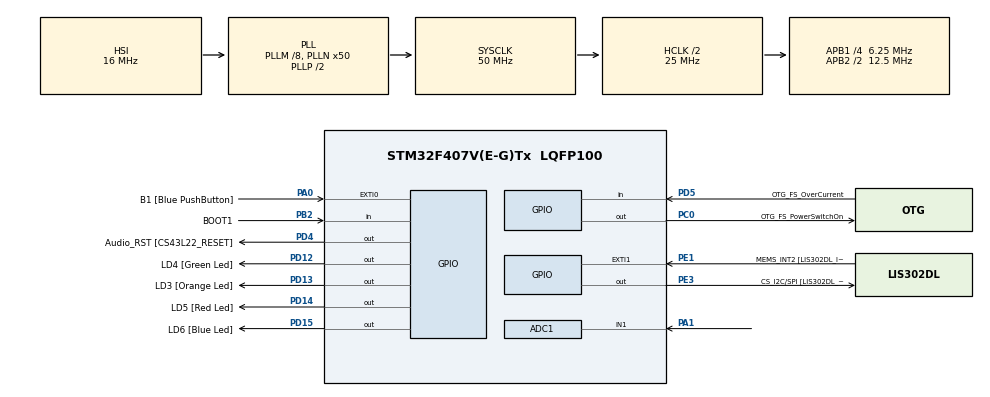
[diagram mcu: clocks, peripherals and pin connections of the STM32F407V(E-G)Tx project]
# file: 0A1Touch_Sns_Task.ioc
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ADC1.Channel-0\#ChannelRegularConversion=ADC_CHANNEL_1
ADC1.ContinuousConvMode=ENABLE
ADC1.InjNumberOfConversion=0
ADC1.NbrOfConversion=1
ADC1.NbrOfConversionFlag=1
ADC1.Rank-0\#ChannelRegularConversion=1
ADC1.Resolution=ADC_RESOLUTION_12B
ADC1.SamplingTime-0\#ChannelRegularConversion=ADC_SAMPLETIME_15CYCLES
ADC1.ScanConvMode=DISABLE
ADC1.master=1
Mcu.Family=STM32F4
Mcu.Name=STM32F407V(E-G)Tx
Mcu.Package=LQFP100
NVIC.EXTI0_IRQn=true\:6\:0\:true\:false\:true\:true\:true\:true
NVIC.PriorityGroup=NVIC_PRIORITYGROUP_4
NVIC.TIM6_DAC_IRQn=true\:15\:0\:false\:false\:true\:false\:true\:true
NVIC.TimeBase=TIM6_DAC_IRQn
NVIC.TimeBaseIP=TIM6
PA0-WKUP.GPIO_Label=B1 [Blue PushButton]
PA0-WKUP.GPIO_ModeDefaultEXTI=GPIO_MODE_IT_FALLING
PA0-WKUP.Signal=GPXTI0
PA1.Signal=ADCx_IN1
PA10.GPIO_Label=OTG_FS_ID
PA10.GPIO_Mode=GPIO_MODE_AF_PP
PA10.GPIO_PuPd=GPIO_NOPULL
PA10.GPIO_Speed=GPIO_SPEED_FREQ_LOW
PA10.Signal=USB_OTG_FS_ID
PA11.GPIO_Label=OTG_FS_DM
PA11.GPIO_Mode=GPIO_MODE_AF_PP
PA11.GPIO_PuPd=GPIO_NOPULL
PA11.GPIO_Speed=GPIO_SPEED_FREQ_LOW
PA11.Signal=USB_OTG_FS_DM
PA12.GPIO_Label=OTG_FS_DP
PA12.GPIO_Mode=GPIO_MODE_AF_PP
PA12.GPIO_PuPd=GPIO_NOPULL
PA12.GPIO_Speed=GPIO_SPEED_FREQ_LOW
PA12.Signal=USB_OTG_FS_DP
PA13.GPIO_Label=SWDIO
PA13.Signal=SYS_JTMS-SWDIO
PA14.GPIO_Label=SWCLK
PA14.Signal=SYS_JTCK-SWCLK
PA4.GPIO_Label=I2S3_WS [CS43L22_LRCK]
PA4.GPIO_Mode=GPIO_MODE_AF_PP
PA4.GPIO_PuPd=GPIO_NOPULL
PA4.GPIO_Speed=GPIO_SPEED_FREQ_LOW
PA4.Signal=I2S3_WS
PA5.GPIO_Label=SPI1_SCK [LIS302DL_SCL/SPC]
PA5.GPIO_Mode=GPIO_MODE_AF_PP
PA5.GPIO_PuPd=GPIO_NOPULL
PA5.GPIO_Speed=GPIO_SPEED_FREQ_LOW
PA5.Signal=SPI1_SCK
PA6.GPIO_Label=SPI1_MISO [LIS302DL_SDO]
PA6.GPIO_Mode=GPIO_MODE_AF_PP
PA6.GPIO_PuPd=GPIO_NOPULL
PA6.GPIO_Speed=GPIO_SPEED_FREQ_LOW
PA6.Signal=SPI1_MISO
PA7.GPIO_Label=SPI1_MOSI [LIS302DL_SDA/SDI/SDO]
PA7.GPIO_Mode=GPIO_MODE_AF_PP
PA7.GPIO_PuPd=GPIO_NOPULL
PA7.GPIO_Speed=GPIO_SPEED_FREQ_LOW
PA7.Signal=SPI1_MOSI
PA9.GPIO_Label=VBUS_FS
PA9.GPIO_Mode=GPIO_MODE_INPUT
PA9.GPIO_PuPd=GPIO_NOPULL
PA9.Signal=USB_OTG_FS_VBUS
PB10.GPIO_Label=CLK_IN [MP45DT02_CLK]
PB10.GPIO_Mode=GPIO_MODE_AF_PP
PB10.GPIO_PuPd=GPIO_NOPULL
PB10.GPIO_Speed=GPIO_SPEED_FREQ_LOW
PB10.Signal=I2S2_CK
PB2.GPIO_Label=BOOT1
PB2.GPIO_Mode=GPIO_MODE_INPUT
PB2.GPIO_PuPd=GPIO_NOPULL
PB2.Signal=GPIO_Input
PB3.GPIO_Label=SWO
PB3.Signal=SYS_JTDO-SWO
PB6.GPIO_Label=Audio_SCL [CS43L22_SCL]
PB6.GPIO_Mode=GPIO_MODE_AF_OD
PB6.GPIO_PuPd=GPIO_NOPULL
PB6.GPIO_Speed=GPIO_SPEED_FREQ_LOW
PB6.Signal=I2C1_SCL
PB9.GPIO_Label=Audio_SDA [CS43L22_SDA]
PB9.GPIO_Mode=GPIO_MODE_AF_OD
PB9.GPIO_PuPd=GPIO_NOPULL
PB9.GPIO_Speed=GPIO_SPEED_FREQ_LOW
PB9.Signal=I2C1_SDA
PC0.GPIO_Label=OTG_FS_PowerSwitchOn
PC0.GPIO_PuPd=GPIO_NOPULL
PC0.GPIO_Speed=GPIO_SPEED_FREQ_LOW
PC0.PinState=GPIO_PIN_SET
PC0.Signal=GPIO_Output
PC10.GPIO_Label=I2S3_SCK [CS43L22_SCLK]
PC10.GPIO_Mode=GPIO_MODE_AF_PP
PC10.GPIO_PuPd=GPIO_NOPULL
PC10.GPIO_Speed=GPIO_SPEED_FREQ_LOW
PC10.Signal=I2S3_CK
PC12.GPIO_Label=I2S3_SD [CS43L22_SDIN]
PC12.GPIO_Mode=GPIO_MODE_AF_PP
PC12.GPIO_PuPd=GPIO_NOPULL
PC12.GPIO_Speed=GPIO_SPEED_FREQ_LOW
PC12.Signal=I2S3_SD
PC14-OSC32_IN.GPIO_Label=PC14-OSC32_IN
PC14-OSC32_IN.Signal=RCC_OSC32_IN
PC15-OSC32_OUT.GPIO_Label=PC15-OSC32_OUT
PC15-OSC32_OUT.Signal=RCC_OSC32_OUT
PC3.GPIO_Label=PDM_OUT [MP45DT02_DOUT]
PC3.GPIO_Mode=GPIO_MODE_AF_PP
PC3.GPIO_PuPd=GPIO_NOPULL
PC3.GPIO_Speed=GPIO_SPEED_FREQ_LOW
PC3.Signal=I2S2_SD
PC7.GPIO_Label=I2S3_MCK [CS43L22_MCLK]
PC7.GPIO_Mode=GPIO_MODE_AF_PP
PC7.GPIO_PuPd=GPIO_NOPULL
PC7.GPIO_Speed=GPIO_SPEED_FREQ_LOW
PC7.Signal=I2S3_MCK
PD12.GPIO_Label=LD4 [Green Led]
PD12.GPIO_PuPd=GPIO_NOPULL
PD12.GPIO_Speed=GPIO_SPEED_FREQ_LOW
PD12.Signal=GPIO_Output
PD13.GPIO_Label=LD3 [Orange Led]
PD13.GPIO_PuPd=GPIO_NOPULL
PD13.GPIO_Speed=GPIO_SPEED_FREQ_LOW
PD13.Signal=GPIO_Output
PD14.GPIO_Label=LD5 [Red Led]
PD14.GPIO_PuPd=GPIO_NOPULL
PD14.GPIO_Speed=GPIO_SPEED_FREQ_LOW
PD14.Signal=GPIO_Output
PD15.GPIO_Label=LD6 [Blue Led]
PD15.GPIO_PuPd=GPIO_NOPULL
PD15.GPIO_Speed=GPIO_SPEED_FREQ_LOW
PD15.Signal=GPIO_Output
PD4.GPIO_Label=Audio_RST [CS43L22_RESET]
PD4.GPIO_PuPd=GPIO_NOPULL
PD4.GPIO_Speed=GPIO_SPEED_FREQ_LOW
PD4.Signal=GPIO_Output
PD5.GPIO_Label=OTG_FS_OverCurrent
PD5.GPIO_Mode=GPIO_MODE_INPUT
PD5.GPIO_PuPd=GPIO_NOPULL
PD5.Signal=GPIO_Input
PE1.GPIO_Label=MEMS_INT2 [LIS302DL_INT2]
PE1.GPIO_ModeDefaultEXTI=GPIO_MODE_EVT_RISING
PE1.GPIO_PuPd=GPIO_NOPULL
PE1.Signal=GPXTI1
PE3.GPIO_Label=CS_I2C/SPI [LIS302DL_CS_I2C/SPI]
PE3.GPIO_PuPd=GPIO_NOPULL
PE3.GPIO_Speed=GPIO_SPEED_FREQ_LOW
PE3.Signal=GPIO_Output
PH0-OSC_IN.GPIO_Label=PH0-OSC_IN
PH0-OSC_IN.Signal=RCC_OSC_IN
PH1-OSC_OUT.GPIO_Label=PH1-OSC_OUT
PH1-OSC_OUT.Signal=RCC_OSC_OUT
ProjectManager.HeapSize=0x200
ProjectManager.StackSize=0x400
ProjectManager.TargetToolchain=STM32CubeIDE
RCC.48MHZClocksFreq_Value=14285714.285714285
RCC.AHBCLKDivider=RCC_SYSCLK_DIV2
RCC.AHBFreq_Value=25000000
RCC.APB1CLKDivider=RCC_HCLK_DIV4
RCC.APB1Freq_Value=6250000
RCC.APB1TimFreq_Value=12500000
RCC.APB2CLKDivider=RCC_HCLK_DIV2
RCC.APB2Freq_Value=12500000
RCC.APB2TimFreq_Value=25000000
RCC.CortexFreq_Value=25000000
RCC.HCLKFreq_Value=25000000
RCC.HSE_VALUE=8000000
RCC.HSI_VALUE=16000000
RCC.LSE_VALUE=32768
RCC.PLLM=8
RCC.PLLN=50
RCC.PLLQ=7
RCC.SYSCLKFreq_VALUE=50000000
RCC.SYSCLKSource=RCC_SYSCLKSOURCE_PLLCLK
RCC.VCOOutputFreq_Value=100000000
SH.ADCx_IN1.0=ADC1_IN1,IN1
VP_SYS_VS_tim6.Mode=TIM6
board=STM32F407G-DISC1

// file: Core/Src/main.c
/* USER CODE BEGIN Header */
/**
  ******************************************************************************
  * @file           : main.c
  * @brief          : Main program body
  ******************************************************************************
  * @attention
  *
  * Copyright (c) 2025 STMicroelectronics.
  * All rights reserved.
  *
  * This software is licensed under terms that can be found in the LICENSE file
  * in the root directory of this software component.
  * If no LICENSE file comes with this software, it is provided AS-IS.
  *
  ******************************************************************************
  */
/* USER CODE END Header */
#include "main.h"

/* USER CODE BEGIN Includes */
#include "stdio.h"
#include "FreeRTOS.h"
#include "task.h"
/* USER CODE END Includes */

ADC_HandleTypeDef hadc1;

/* USER CODE BEGIN PV */
#define DWT_CTRL (*(volatile uint32_t*)0xE0001000)
/* USER CODE END PV */

void SystemClock_Config(void);
static void MX_GPIO_Init(void);
static void MX_ADC1_Init(void);
/* USER CODE BEGIN PFP */
static void task1_handler(void* parameters);
static void task2_handler(void* parameters);
static void taskLED_Green_handler(void* parameters);
static void taskLED_Blue_handler(void* parameters);
static void taskLED_Red_handler(void* parameters);
static void taskLED_Yellow_handler(void* parameters);
static void taskTouch_Sns_handler(void* parameters);
static void Priority_Swtich(void);

#if (SEGGER_UART_REC == 1)
extern viod SEGGER_UART_init(uint32_t);
#endif
/* USER CODE END PFP */

/* USER CODE BEGIN 0 */
//static uint32_t cnt1 = 0u;
//static uint32_t cnt2 = 0u;
//static uint32_t cnt3 = 0u;
//static uint32_t cnt4 = 0u;
//static uint32_t tot_cnt = 0u;
static uint32_t User_Btn_Cnt = 0u;
static uint8_t User_Btn_Sts = 0u;
static uint8_t User_Btn_Sts_Debounce = 0u;
static uint8_t User_Btn_Toggle = 0u;
static uint8_t User_Btn_Toggle_Last = 0u;
static uint8_t User_Btn_Clicked = 0u;
static uint8_t Task_Handle_Cnt = 0u;
static uint32_t ADC1_Value = 0u;
static uint8_t Touch_Sns_Sts = 0u;
static uint8_t Touch_Sns_Sts_cnt = 0u;
static uint8_t Touch_Sns_ON = 0u;
static uint8_t Touch_Sns_ON_Last = 0u;

TaskHandle_t task1_handle;
TaskHandle_t task2_handle;
TaskHandle_t taskLED_Green_handle;
TaskHandle_t taskLED_Blue_handle;
TaskHandle_t taskLED_Red_handle;
TaskHandle_t taskLED_Yellow_handle;
TaskHandle_t taskUser_Btn_handle;
TaskHandle_t next_handle;
TaskHandle_t taskTouch_Sns_handle;
/* USER CODE END 0 */

int main(void)
{

  /* USER CODE BEGIN 1 */
	BaseType_t status;
  /* USER CODE END 1 */

  /* MCU Configuration--------------------------------------------------------*/

  /* Reset of all peripherals, Initializes the Flash interface and the Systick. */
  HAL_Init();

  /* Configure the system clock */
  SystemClock_Config();

  /* Initialize all configured peripherals */
  MX_GPIO_Init();
  MX_ADC1_Init();
  /* USER CODE BEGIN 2 */
  HAL_ADC_Start_IT(&hadc1);
#if (SEGGER_UART_REC == 1)
  SEGGER_UART_init(500000);
#endif
  /*Enable the CYCCNT*/
  DWT_CTRL|= (1<< 0);
  SEGGER_SYSVIEW_Conf();

#if (SEGGER_UART_REC == 0)
  SEGGER_SYSVIEW_Start();
#endif

  status = xTaskCreate(taskLED_Green_handler, "Task-LED", 200, "Green_LED_Task Activation", 3, &taskLED_Green_handle);
  configASSERT(status == pdPASS);

  status = xTaskCreate(taskLED_Blue_handler, "Task-LED", 200, "Blue_LED_Task Activation", 3, &taskLED_Blue_handle);
  configASSERT(status == pdPASS);

  status = xTaskCreate(taskLED_Red_handler, "Task-LED", 200, "Red_LED_Task Activation", 3, &taskLED_Red_handle);
  configASSERT(status == pdPASS);

  status = xTaskCreate(taskLED_Yellow_handler, "Task-LED", 200, "Yellow_LED_Task Activation", 3, &taskLED_Yellow_handle);
  configASSERT(status == pdPASS);

/*
  status = xTaskCreate(taskUser_Btn_handler, "Task-Btn", 200, "User_Btn_Task Activation", 1, &taskUser_Btn_handle);
  configASSERT(status == pdPASS);
  */
  status = xTaskCreate(taskTouch_Sns_handler, "Task-Touch_Sns", 200, NULL, 3, &taskTouch_Sns_handle);
  configASSERT(status == pdPASS);

  /*Start the scheduler*/
  vTaskStartScheduler();
  /* USER CODE END 2 */

  /* Infinite loop */
  while (1)
  {

  }
}

void SystemClock_Config(void)
{
  RCC_OscInitTypeDef RCC_OscInitStruct = {0};
  RCC_ClkInitTypeDef RCC_ClkInitStruct = {0};

  /** Configure the main internal regulator output voltage
  */
  __HAL_RCC_PWR_CLK_ENABLE();
  __HAL_PWR_VOLTAGESCALING_CONFIG(PWR_REGULATOR_VOLTAGE_SCALE1);

  /** Initializes the RCC Oscillators according to the specified parameters
  * in the RCC_OscInitTypeDef structure.
  */
  RCC_OscInitStruct.OscillatorType = RCC_OSCILLATORTYPE_HSI;
  RCC_OscInitStruct.HSIState = RCC_HSI_ON;
  RCC_OscInitStruct.HSICalibrationValue = RCC_HSICALIBRATION_DEFAULT;
  RCC_OscInitStruct.PLL.PLLState = RCC_PLL_ON;
  RCC_OscInitStruct.PLL.PLLSource = RCC_PLLSOURCE_HSI;
  RCC_OscInitStruct.PLL.PLLM = 8;
  RCC_OscInitStruct.PLL.PLLN = 50;
  RCC_OscInitStruct.PLL.PLLP = RCC_PLLP_DIV2;
  RCC_OscInitStruct.PLL.PLLQ = 7;
  if (HAL_RCC_OscConfig(&RCC_OscInitStruct) != HAL_OK)
  {
    Error_Handler();
  }

  /** Initializes the CPU, AHB and APB buses clocks
  */
  RCC_ClkInitStruct.ClockType = RCC_CLOCKTYPE_HCLK|RCC_CLOCKTYPE_SYSCLK
                              |RCC_CLOCKTYPE_PCLK1|RCC_CLOCKTYPE_PCLK2;
  RCC_ClkInitStruct.SYSCLKSource = RCC_SYSCLKSOURCE_PLLCLK;
  RCC_ClkInitStruct.AHBCLKDivider = RCC_SYSCLK_DIV2;
  RCC_ClkInitStruct.APB1CLKDivider = RCC_HCLK_DIV4;
  RCC_ClkInitStruct.APB2CLKDivider = RCC_HCLK_DIV2;

  if (HAL_RCC_ClockConfig(&RCC_ClkInitStruct, FLASH_LATENCY_0) != HAL_OK)
  {
    Error_Handler();
  }
}

static void MX_ADC1_Init(void)
{

  ADC_ChannelConfTypeDef sConfig = {0};

  /** Configure the global features of the ADC (Clock, Resolution, Data Alignment and number of conversion)
  */
  hadc1.Instance = ADC1;
  hadc1.Init.ClockPrescaler = ADC_CLOCK_SYNC_PCLK_DIV2;
  hadc1.Init.Resolution = ADC_RESOLUTION_12B;
  hadc1.Init.ScanConvMode = DISABLE;
  hadc1.Init.ContinuousConvMode = ENABLE;
  hadc1.Init.DiscontinuousConvMode = DISABLE;
  hadc1.Init.ExternalTrigConvEdge = ADC_EXTERNALTRIGCONVEDGE_NONE;
  hadc1.Init.ExternalTrigConv = ADC_SOFTWARE_START;
  hadc1.Init.DataAlign = ADC_DATAALIGN_RIGHT;
  hadc1.Init.NbrOfConversion = 1;
  hadc1.Init.DMAContinuousRequests = DISABLE;
  hadc1.Init.EOCSelection = ADC_EOC_SINGLE_CONV;
  if (HAL_ADC_Init(&hadc1) != HAL_OK)
  {
    Error_Handler();
  }

  /** Configure for the selected ADC regular channel its corresponding rank in the sequencer and its sample time.
  */
  sConfig.Channel = ADC_CHANNEL_1;
  sConfig.Rank = 1;
  sConfig.SamplingTime = ADC_SAMPLETIME_15CYCLES;
  if (HAL_ADC_ConfigChannel(&hadc1, &sConfig) != HAL_OK)
  {
    Error_Handler();
  }

}

static void MX_GPIO_Init(void)
{
  GPIO_InitTypeDef GPIO_InitStruct = {0};

  /* GPIO Ports Clock Enable */
  __HAL_RCC_GPIOE_CLK_ENABLE();
  __HAL_RCC_GPIOC_CLK_ENABLE();
  __HAL_RCC_GPIOH_CLK_ENABLE();
  __HAL_RCC_GPIOA_CLK_ENABLE();
  __HAL_RCC_GPIOB_CLK_ENABLE();
  __HAL_RCC_GPIOD_CLK_ENABLE();

  /*Configure GPIO pin Output Level */
  HAL_GPIO_WritePin(CS_I2C_SPI_GPIO_Port, CS_I2C_SPI_Pin, GPIO_PIN_RESET);

  /*Configure GPIO pin Output Level */
  HAL_GPIO_WritePin(OTG_FS_PowerSwitchOn_GPIO_Port, OTG_FS_PowerSwitchOn_Pin, GPIO_PIN_SET);

  /*Configure GPIO pin Output Level */
  HAL_GPIO_WritePin(GPIOD, LD4_Pin|LD3_Pin|LD5_Pin|LD6_Pin
                          |Audio_RST_Pin, GPIO_PIN_RESET);

  /*Configure GPIO pin : CS_I2C_SPI_Pin */
  GPIO_InitStruct.Pin = CS_I2C_SPI_Pin;
  GPIO_InitStruct.Mode = GPIO_MODE_OUTPUT_PP;
  GPIO_InitStruct.Pull = GPIO_NOPULL;
  GPIO_InitStruct.Speed = GPIO_SPEED_FREQ_LOW;
  HAL_GPIO_Init(CS_I2C_SPI_GPIO_Port, &GPIO_InitStruct);

  /*Configure GPIO pin : OTG_FS_PowerSwitchOn_Pin */
  GPIO_InitStruct.Pin = OTG_FS_PowerSwitchOn_Pin;
  GPIO_InitStruct.Mode = GPIO_MODE_OUTPUT_PP;
  GPIO_InitStruct.Pull = GPIO_NOPULL;
  GPIO_InitStruct.Speed = GPIO_SPEED_FREQ_LOW;
  HAL_GPIO_Init(OTG_FS_PowerSwitchOn_GPIO_Port, &GPIO_InitStruct);

  /*Configure GPIO pin : PDM_OUT_Pin */
  GPIO_InitStruct.Pin = PDM_OUT_Pin;
  GPIO_InitStruct.Mode = GPIO_MODE_AF_PP;
  GPIO_InitStruct.Pull = GPIO_NOPULL;
  GPIO_InitStruct.Speed = GPIO_SPEED_FREQ_LOW;
  GPIO_InitStruct.Alternate = GPIO_AF5_SPI2;
  HAL_GPIO_Init(PDM_OUT_GPIO_Port, &GPIO_InitStruct);

  /*Configure GPIO pin : B1_Pin */
  GPIO_InitStruct.Pin = B1_Pin;
  GPIO_InitStruct.Mode = GPIO_MODE_IT_FALLING;
  GPIO_InitStruct.Pull = GPIO_NOPULL;
  HAL_GPIO_Init(B1_GPIO_Port, &GPIO_InitStruct);

  /*Configure GPIO pin : I2S3_WS_Pin */
  GPIO_InitStruct.Pin = I2S3_WS_Pin;
  GPIO_InitStruct.Mode = GPIO_MODE_AF_PP;
  GPIO_InitStruct.Pull = GPIO_NOPULL;
  GPIO_InitStruct.Speed = GPIO_SPEED_FREQ_LOW;
  GPIO_InitStruct.Alternate = GPIO_AF6_SPI3;
  HAL_GPIO_Init(I2S3_WS_GPIO_Port, &GPIO_InitStruct);

  /*Configure GPIO pins : SPI1_SCK_Pin SPI1_MISO_Pin SPI1_MOSI_Pin */
  GPIO_InitStruct.Pin = SPI1_SCK_Pin|SPI1_MISO_Pin|SPI1_MOSI_Pin;
  GPIO_InitStruct.Mode = GPIO_MODE_AF_PP;
  GPIO_InitStruct.Pull = GPIO_NOPULL;
  GPIO_InitStruct.Speed = GPIO_SPEED_FREQ_LOW;
  GPIO_InitStruct.Alternate = GPIO_AF5_SPI1;
  HAL_GPIO_Init(GPIOA, &GPIO_InitStruct);

  /*Configure GPIO pin : BOOT1_Pin */
  GPIO_InitStruct.Pin = BOOT1_Pin;
  GPIO_InitStruct.Mode = GPIO_MODE_INPUT;
  GPIO_InitStruct.Pull = GPIO_NOPULL;
  HAL_GPIO_Init(BOOT1_GPIO_Port, &GPIO_InitStruct);

  /*Configure GPIO pin : CLK_IN_Pin */
  GPIO_InitStruct.Pin = CLK_IN_Pin;
  GPIO_InitStruct.Mode = GPIO_MODE_AF_PP;
  GPIO_InitStruct.Pull = GPIO_NOPULL;
  GPIO_InitStruct.Speed = GPIO_SPEED_FREQ_LOW;
  GPIO_InitStruct.Alternate = GPIO_AF5_SPI2;
  HAL_GPIO_Init(CLK_IN_GPIO_Port, &GPIO_InitStruct);

  /*Configure GPIO pins : LD4_Pin LD3_Pin LD5_Pin LD6_Pin
                           Audio_RST_Pin */
  GPIO_InitStruct.Pin = LD4_Pin|LD3_Pin|LD5_Pin|LD6_Pin
                          |Audio_RST_Pin;
  GPIO_InitStruct.Mode = GPIO_MODE_OUTPUT_PP;
  GPIO_InitStruct.Pull = GPIO_NOPULL;
  GPIO_InitStruct.Speed = GPIO_SPEED_FREQ_LOW;
  HAL_GPIO_Init(GPIOD, &GPIO_InitStruct);

  /*Configure GPIO pins : I2S3_MCK_Pin I2S3_SCK_Pin I2S3_SD_Pin */
  GPIO_InitStruct.Pin = I2S3_MCK_Pin|I2S3_SCK_Pin|I2S3_SD_Pin;
  GPIO_InitStruct.Mode = GPIO_MODE_AF_PP;
  GPIO_InitStruct.Pull = GPIO_NOPULL;
  GPIO_InitStruct.Speed = GPIO_SPEED_FREQ_LOW;
  GPIO_InitStruct.Alternate = GPIO_AF6_SPI3;
  HAL_GPIO_Init(GPIOC, &GPIO_InitStruct);

  /*Configure GPIO pin : VBUS_FS_Pin */
  GPIO_InitStruct.Pin = VBUS_FS_Pin;
  GPIO_InitStruct.Mode = GPIO_MODE_INPUT;
  GPIO_InitStruct.Pull = GPIO_NOPULL;
  HAL_GPIO_Init(VBUS_FS_GPIO_Port, &GPIO_InitStruct);

  /*Configure GPIO pins : OTG_FS_ID_Pin OTG_FS_DM_Pin OTG_FS_DP_Pin */
  GPIO_InitStruct.Pin = OTG_FS_ID_Pin|OTG_FS_DM_Pin|OTG_FS_DP_Pin;
  GPIO_InitStruct.Mode = GPIO_MODE_AF_PP;
  GPIO_InitStruct.Pull = GPIO_NOPULL;
  GPIO_InitStruct.Speed = GPIO_SPEED_FREQ_LOW;
  GPIO_InitStruct.Alternate = GPIO_AF10_OTG_FS;
  HAL_GPIO_Init(GPIOA, &GPIO_InitStruct);

  /*Configure GPIO pin : OTG_FS_OverCurrent_Pin */
  GPIO_InitStruct.Pin = OTG_FS_OverCurrent_Pin;
  GPIO_InitStruct.Mode = GPIO_MODE_INPUT;
  GPIO_InitStruct.Pull = GPIO_NOPULL;
  HAL_GPIO_Init(OTG_FS_OverCurrent_GPIO_Port, &GPIO_InitStruct);

  /*Configure GPIO pins : Audio_SCL_Pin Audio_SDA_Pin */
  GPIO_InitStruct.Pin = Audio_SCL_Pin|Audio_SDA_Pin;
  GPIO_InitStruct.Mode = GPIO_MODE_AF_OD;
  GPIO_InitStruct.Pull = GPIO_NOPULL;
  GPIO_InitStruct.Speed = GPIO_SPEED_FREQ_LOW;
  GPIO_InitStruct.Alternate = GPIO_AF4_I2C1;
  HAL_GPIO_Init(GPIOB, &GPIO_InitStruct);

  /*Configure GPIO pin : MEMS_INT2_Pin */
  GPIO_InitStruct.Pin = MEMS_INT2_Pin;
  GPIO_InitStruct.Mode = GPIO_MODE_EVT_RISING;
  GPIO_InitStruct.Pull = GPIO_NOPULL;
  HAL_GPIO_Init(MEMS_INT2_GPIO_Port, &GPIO_InitStruct);

  /* EXTI interrupt init*/
  HAL_NVIC_SetPriority(EXTI0_IRQn, 6, 0);
  HAL_NVIC_EnableIRQ(EXTI0_IRQn);

}

/* USER CODE BEGIN 4 */

//void HAL_ADC_ConvCpltCallback(ADC_HandleTypeDef *hadc){
//	ADC1_Value = HAL_ADC_GetValue(&hadc1);
//	HAL_ADC_Start_IT(&hadc1);
//}

static void taskTouch_Sns_handler(void* parameters){

	while(1){
		Touch_Sns_ON_Last = Touch_Sns_ON;//storing the last status

		HAL_ADC_Start(&hadc1);
		ADC1_Value = HAL_ADC_GetValue(&hadc1);
		if (ADC1_Value >= 4000u){
			Touch_Sns_ON = 1u;
		}
		else{
			Touch_Sns_ON = 0u;
		}

		if(Touch_Sns_ON > Touch_Sns_ON_Last){
			Touch_Sns_Sts_cnt = Touch_Sns_Sts_cnt + 1u;
			if(Touch_Sns_Sts_cnt >= 3){
				Touch_Sns_Sts_cnt = 0u;
			}
		}
		else{
			/*Do nothing*/
		}
	}
	taskYIELD();
}

void btn_int_handler(void){
	BaseType_t pxHigherPriorityTaskWoken;

	pxHigherPriorityTaskWoken = pdFALSE;
	xTaskNotifyFromISR(next_handle, 0, eNoAction, &pxHigherPriorityTaskWoken);/*Notify the currently running task*/
	portYIELD_FROM_ISR(pxHigherPriorityTaskWoken);
}

static void taskLED_Green_handler(void* parameters)
{
	while(1)
	{
		if(Touch_Sns_Sts_cnt == 0u){
			HAL_GPIO_TogglePin(GPIOD, GPIO_PIN_12);
			vTaskDelay(pdMS_TO_TICKS(500));
		}
		else{
			HAL_GPIO_WritePin(GPIOD, GPIO_PIN_12, GPIO_PIN_SET);
		}
	}
	taskYIELD();
}

static void taskLED_Blue_handler(void* parameters)
{
	while(1)
	{
		if(Touch_Sns_ON == 1u){
			HAL_GPIO_WritePin(GPIOD, GPIO_PIN_15, GPIO_PIN_SET);
		}
		else if(Touch_Sns_ON == 0u){
			HAL_GPIO_WritePin(GPIOD, GPIO_PIN_15, GPIO_PIN_RESET);
		}
	}
	taskYIELD();
}

static void taskLED_Red_handler(void* parameters)
{

	while(1)
	{
		if(Touch_Sns_Sts_cnt == 1u){
			HAL_GPIO_TogglePin(GPIOD, GPIO_PIN_14);
			vTaskDelay(pdMS_TO_TICKS(100));
		}
		else{
			HAL_GPIO_WritePin(GPIOD, GPIO_PIN_14, GPIO_PIN_SET);
		}
	}
	taskYIELD();
}

static void taskLED_Yellow_handler(void* parameters)
{
	while(1)
	{
		if(Touch_Sns_Sts_cnt == 2u){
			HAL_GPIO_TogglePin(GPIOD, GPIO_PIN_13);
			vTaskDelay(pdMS_TO_TICKS(300));
		}
		else{
			HAL_GPIO_WritePin(GPIOD, GPIO_PIN_13, GPIO_PIN_SET);
		}
	}
	taskYIELD();
}

void taskUser_Btn_handler(void)
{
//	while(1)
//	{
//		if(User_Btn_Cnt >9){
//			printf("%s\n", (char*)"PUSHED");
//		}
//		else{
//			printf("%s\n", (char*)"OFF");
//		}
//
//		User_Btn_Sts = HAL_GPIO_ReadPin(GPIOA, GPIO_PIN_0);
//		if( User_Btn_Sts == GPIO_PIN_SET){
//			if(User_Btn_Cnt>=10)
//			{
//				User_Btn_Cnt = 10;
//			}
//			User_Btn_Cnt = User_Btn_Cnt+1u;
//		}
//		else if( User_Btn_Sts == GPIO_PIN_RESET){
//			if(User_Btn_Cnt<=1)
//			{
//				User_Btn_Cnt = 1;
//			}
//			User_Btn_Cnt = User_Btn_Cnt-1u;
//		}
//
//		if(User_Btn_Cnt>=10)
//		{
//			User_Btn_Sts_Debounce = 1;
//		}
//		else{
//			User_Btn_Sts_Debounce = 0;
//		}
//
//		User_Btn_Toggle_Last = User_Btn_Toggle;
//		User_Btn_Toggle = User_Btn_Sts_Debounce;
//
//		if(User_Btn_Toggle > User_Btn_Toggle_Last){
			User_Btn_Clicked = 1u;
//		}
//	}
}

static void Priority_Swtich(void){

	UBaseType_t prio_red = 0;
	UBaseType_t prio_green = 0;
	TaskHandle_t curr_handle = 0;

	prio_red = uxTaskPriorityGet(taskLED_Red_handle);
	prio_green = uxTaskPriorityGet(taskLED_Green_handle);

	curr_handle = xTaskGetCurrentTaskHandle();

	if (curr_handle == taskLED_Red_handle){
		vTaskPrioritySet(taskLED_Red_handle, prio_green);
		vTaskPrioritySet(taskLED_Green_handle, prio_red);
	}
	else{
		vTaskPrioritySet(taskLED_Green_handle, prio_red);
		vTaskPrioritySet(taskLED_Red_handle, prio_green);
	}
}

/* USER CODE END 4 */

void HAL_TIM_PeriodElapsedCallback(TIM_HandleTypeDef *htim)
{
  if (htim->Instance == TIM6)
  {
    HAL_IncTick();
  }
}

void Error_Handler(void)
{
  __disable_irq();
  while (1)
  {
  }
}
